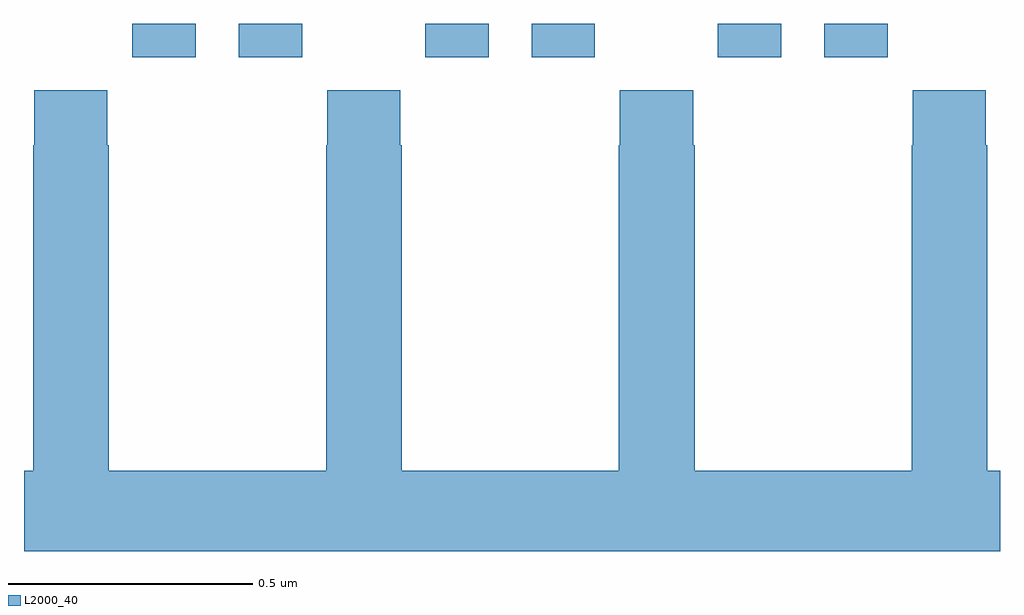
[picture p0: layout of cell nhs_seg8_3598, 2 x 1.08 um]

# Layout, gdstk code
import gdstk
lib = gdstk.Library(unit=1e-6, precision=1e-09)
def R(c, l, rs):  # rectangles x0, y0, x1, y1
    for r in rs: c.add(gdstk.rectangle(r[:2], r[2:], *l))
def P(c, l, *ps):  # polygons
    for p in ps: c.add(gdstk.Polygon(p, *l))
L2000_40 = (2000, 40)

nhs_seg8_3598 = lib.new_cell('nhs_seg8_3598')
R(nhs_seg8_3598, L2000_40, [(159.222,1130.832,159.352,1130.9), (159.44,1130.832,159.57,1130.9), (159.822,1130.832,159.952,1130.9), (160.04,1130.832,160.17,1130.9), (160.422,1130.832,160.552,1130.9), (160.64,1130.832,160.77,1130.9)])
P(nhs_seg8_3598, L2000_40, [(161,1129.984),(160.974,1129.984),(160.974,1130.651),(160.971,1130.651),(160.971,1130.764),(160.821,1130.764),(160.821,1130.651),(160.819,1130.651),(160.819,1129.984),(160.374,1129.984),(160.374,1130.651),(160.371,1130.651),(160.371,1130.764),(160.221,1130.764),(160.221,1130.651),(160.219,1130.651),(160.219,1129.984),(159.774,1129.984),(159.774,1130.651),(159.771,1130.651),(159.771,1130.764),(159.621,1130.764),(159.621,1130.651),(159.619,1130.651),(159.619,1129.984),(159.174,1129.984),(159.174,1130.651),(159.171,1130.651),(159.171,1130.764),(159.021,1130.764),(159.021,1130.651),(159.019,1130.651),(159.019,1129.984),(159,1129.984),(159,1129.82),(161,1129.82)])

lib.write_gds('nhs_seg8_3598.gds')
